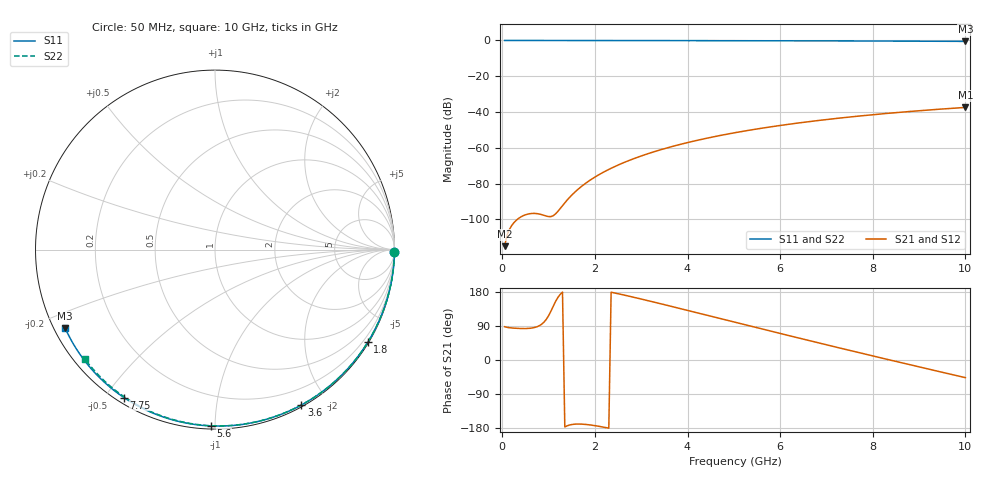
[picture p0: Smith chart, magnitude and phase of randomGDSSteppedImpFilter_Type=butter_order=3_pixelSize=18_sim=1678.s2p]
! freq	dB(S11)	phase(S11)	dB(S12)	phase(S12)
!  dB(S21)	phase(S21)	dB(S22)	phase(S22)
!S-par simulation data
#  GHz  S  DB  R 50
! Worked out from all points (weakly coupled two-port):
!   200 points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, 50 MHz to 10 GHz, reference 50 ohm
!   highest |S21| = -37.40 dB at 10 GHz (marker M1); lowest = -114.9 dB at 50 MHz (marker M2)
!   lowest |S11| = -0.5 dB at 10 GHz (marker M3), VSWR 33.77, Z = 1.57 - j12.3 ohm
!   |S11| at or under -10 dB: nowhere
!   |S22| runs from -0.5 to 0.0 dB; largest |S21 - S12| = 0
!   S11 on the Smith chart (normalised r, x): 50 MHz: open; 1.8 GHz: 0.03, -3.57; 3.6 GHz: 0.02, -1.70; 5.6 GHz: 0.02, -0.98; 7.75 GHz: 0.02, -0.56; 10 GHz: 0.03, -0.25
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0.05  -0.00 -0.9  -114.90 87.9  -114.90 87.9  -0.00 -0.8
0.45  -0.01 -7.9  -97.89 83.0  -97.89 83.0  -0.01 -7.3
0.9  -0.02 -15.8  -97.68 99.8  -97.68 99.8  -0.02 -14.5
1.3  -0.03 -22.7  -92.25 179.1  -92.25 179.1  -0.03 -20.8
1.75  -0.04 -30.4  -80.72 -169.5  -80.72 -169.5  -0.04 -27.9
1.8  -0.04 -31.3  -79.76 -170.0  -79.76 -170.0  -0.04 -28.7
1.95  -0.04 -33.8  -77.12 -172.3  -77.12 -172.3  -0.04 -31.0
2.1  -0.05 -36.3  -74.78 -175.2  -74.78 -175.2  -0.04 -33.4
2.3  -0.05 -39.7  -72.03 -179.9  -72.03 -179.9  -0.05 -36.5
2.5  -0.06 -43.0  -69.60 174.9  -69.60 174.9  -0.05 -39.5
2.9  -0.06 -49.6  -65.44 163.8  -65.44 163.8  -0.06 -45.6
3.4  -0.08 -57.7  -61.19 149.1  -61.19 149.1  -0.07 -53.1
3.6  -0.08 -60.9  -59.71 143.0  -59.71 143.0  -0.08 -56.0
4.3  -0.10 -71.9  -55.25 121.8  -55.25 121.8  -0.09 -66.2
5.05  -0.13 -83.2  -51.40 98.9  -51.40 98.9  -0.12 -76.7
5.6  -0.15 -91.4  -49.02 82.1  -49.02 82.1  -0.14 -84.2
6.15  -0.18 -99.3  -46.94 65.5  -46.94 65.5  -0.16 -91.6
6.7  -0.21 -107.1  -45.09 49.0  -45.09 49.0  -0.19 -98.7
7.75  -0.28 -121.6  -42.11 18.0  -42.11 18.0  -0.26 -112.1
8.35  -0.33 -129.8  -40.65 0.6  -40.65 0.6  -0.31 -119.6
9.2  -0.42 -141.3  -38.85 -23.8  -38.85 -23.8  -0.38 -130.0
10  -0.51 -152.3  -37.40 -46.6  -37.40 -46.6  -0.47 -139.7
